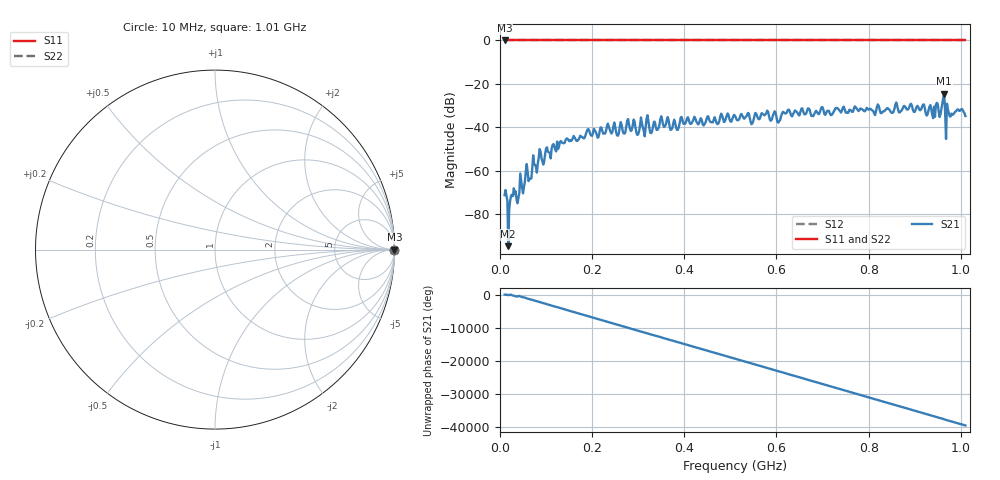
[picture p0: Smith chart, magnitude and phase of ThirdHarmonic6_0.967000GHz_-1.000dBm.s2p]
! 8/16/2025 7:16:35 AM
! C:\ANRITSUVNA\TEMP\TEMP.S2P
! CHANNEL.1
! TR.MEASUREMENT
! RAW.DATA
! RF.CORRECTION.OFF
! AVERAGING.OFF
! IF.BANDWIDTH: 5KHZ
! SWEEPTYPE:  FREQ.SWEEP(Linear)
! Reference Plane Port Info
! PORT:  PORT1  PORT2
! DISTANCE:  0  m  0  m
! TIME:  0  s  0  s
! PHASE.OFFSET:  0  deg.  0  deg.
! LOSS:  0  dB  0  dB
! REF.LOSS:  0  dB  0  dB
! REF.FREQ:  0  Hz  0  Hz
! Power Info
! POWER:  -20  dBm  -20  dBm
! EFF.POWER:  -20  dBm  -20  dBm
! SOURCE.ATTEN:  0  dB  0  dB
! TEST.ATTEN:  0  dB  0  dB
# GHZ S RI R 50.0
! FREQ.GHZ  S11RE  S11IM  S21RE  S21IM  S12RE  S12IM  S22RE  S22IM
!; PortSelection: Port_12
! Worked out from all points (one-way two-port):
!   501 points, 10 MHz to 1.01 GHz, reference 50 ohm
!   highest |S21| = -24.54 dB at 964 MHz (marker M1); lowest = -94.8 dB at 18 MHz (marker M2)
!   lowest |S11| = 0.0 dB at 10 MHz (marker M3)
!   |S11| at or under -10 dB: nowhere
!   |S22| runs from 0.0 to 0.0 dB; largest |S21 - S12| = 1.1
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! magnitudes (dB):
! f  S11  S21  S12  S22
! 10 MHz  0.0  -71.3  0.0  0.0
! 18 MHz  0.0  -94.8  0.0  0.0
! 30 MHz  0.0  -68.1  0.0  0.0
! 38 MHz  0.0  -75.0  0.0  0.0
! 56 MHz  0.0  -60.4  0.0  0.0
! 66 MHz  0.0  -63.5  0.0  0.0
! 86 MHz  0.0  -50.0  0.0  0.0
! 178 MHz  0.0  -44.4  0.0  0.0
! 234 MHz  0.0  -38.3  0.0  0.0
! 270 MHz  0.0  -42.9  0.0  0.0
! 278 MHz  0.0  -36.2  0.0  0.0
! 298 MHz  0.0  -43.5  0.0  0.0
! 320 MHz  0.0  -34.4  0.0  0.0
! 328 MHz  0.0  -42.7  0.0  0.0
! 344 MHz  0.0  -40.3  0.0  0.0
! 510 MHz  0.0  -34.7  0.0  0.0
! 678 MHz  0.0  -34.7  0.0  0.0
! 844 MHz  0.0  -31.7  0.0  0.0
! 962 MHz  0.0  -26.4  0.0  0.0
! 964 MHz  0.0  -24.5  0.0  0.0
! 972 MHz  0.0  -31.7  0.0  0.0
! 1.01 GHz  0.0  -34.8  0.0  0.0
